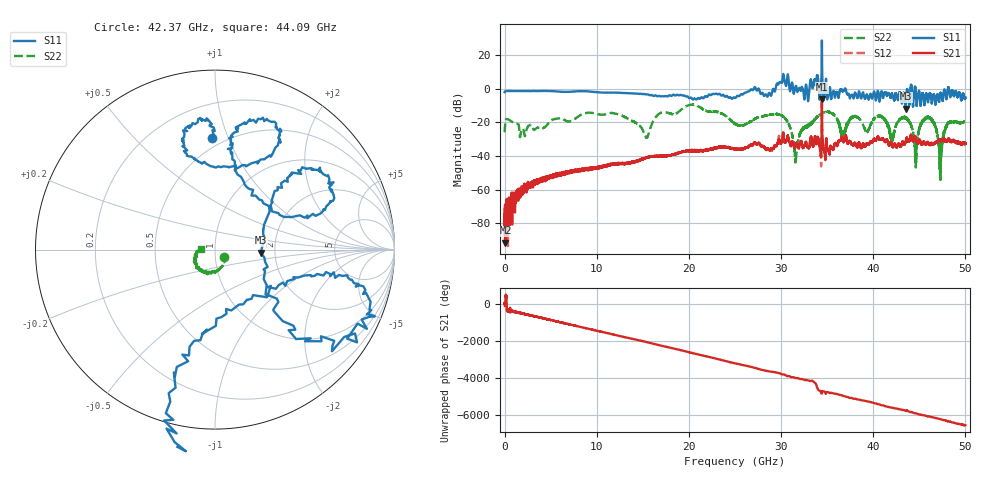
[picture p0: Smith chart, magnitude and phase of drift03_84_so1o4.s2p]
!Created with skrf (http://scikit-rf.org).
# Hz S RI R 50.0
!freq ReS11 ImS11 ReS21 ImS21 ReS12 ImS12 ReS22 ImS22
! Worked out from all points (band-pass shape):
!   10000 points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, 5.3 MHz to 50 GHz, reference 50 ohm
!   highest |S21| = -6.29 dB at 34.43 GHz (marker M1); lowest = -91.4 dB at 100.3 MHz (marker M2)
!   |S21| within 3 dB of the highest: 34.42751 GHz to 34.43511 GHz (7.605 MHz wide, 0.0221 % of centre)
!   lowest |S11| = -11.8 dB at 43.52 GHz (marker M3), VSWR 1.69, Z = 84.2 - j3.14 ohm
!   |S11| at or under -10 dB: 43.48381 GHz to 43.54982 GHz (66.01 MHz wide, 0.152 % of centre); 44.31029 GHz to 44.31858 GHz (8.294 MHz wide, 0.0187 % of centre); 44.70662 GHz to 44.71234 GHz (5.724 MHz wide, 0.0128 % of centre) (the widest 3 of 4)
!   |S22| runs from -54.2 to -9.4 dB; largest |S21 - S12| = 0.15
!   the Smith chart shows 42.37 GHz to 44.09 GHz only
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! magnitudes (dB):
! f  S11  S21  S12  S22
! 5.3 MHz  -2.1  -86.7  -81.3  -25.9
! 100.3 MHz  -1.5  -91.4  -79.2  -18.7
! 2.32 GHz  -1.3  -57.3  -58.6  -25.8
! 8.34 GHz  -1.5  -48.6  -48.3  -15.3
! 12.47 GHz  -2.4  -44.3  -44.3  -15.4
! 15.4 GHz  -3.4  -40.7  -40.8  -29.0
! 16.67 GHz  -4.4  -39.9  -40.1  -15.3
! 20.47 GHz  -6.5  -36.7  -36.8  -9.5
! 25.01 GHz  -5.5  -36.0  -35.8  -20.8
! 29.92 GHz  3.9  -32.3  -31.4  -15.6
! 31.59 GHz  1.4  -33.7  -33.9  -43.2
! 33.34 GHz  2.6  -30.3  -30.5  -20.5
! 34.43 GHz  28.6  -6.3  -8.5  -14.5
! 36.69 GHz  -1.5  -29.7  -29.8  -28.4
! 37.94 GHz  -4.3  -33.0  -32.8  -16.5
! 41.67 GHz  -2.9  -33.3  -33.2  -22.6
! 43.52 GHz  -11.8  -31.2  -31.4  -17.6
! 44.61 GHz  -1.6  -28.9  -29.1  -43.5
! 46.27 GHz  -5.2  -33.1  -32.9  -17.8
! 47.29 GHz  -2.8  -30.9  -30.7  -51.5
! 48.1 GHz  0.1  -30.3  -30.3  -20.5
! 50 GHz  -5.3  -32.7  -32.9  -19.6
